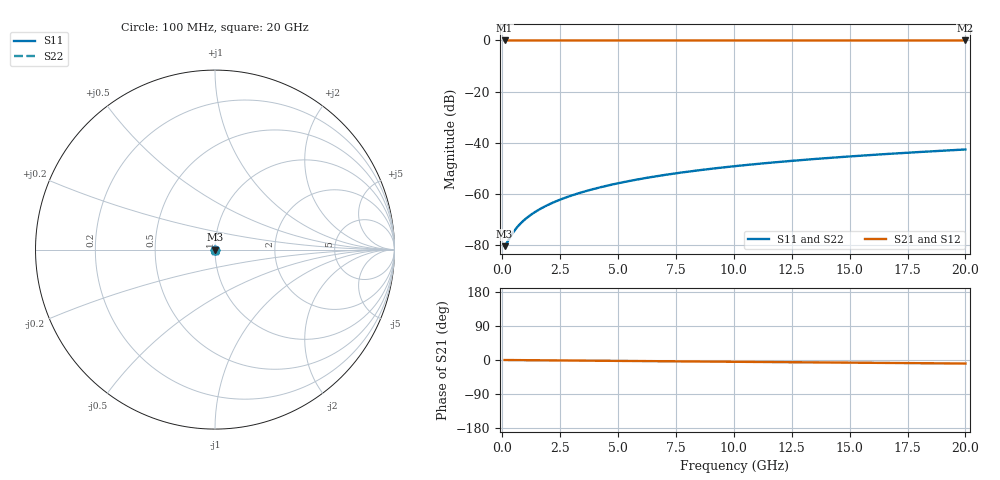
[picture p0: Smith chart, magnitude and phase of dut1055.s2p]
! Touchstone file exported from HFSS 2026.1.0
!  File:  C:/ffzhzh/LocalFiles/Ansys_Project_Files/temp_train_TSV_1055_1783189550_55132.aedt
!  Generated:  02:27:25 AM Jul  5, 2026
!  Design:  TSV
!  Project:  temp_train_TSV_1055_1783189550_55132
! Variables:
!  h_bsmrdl = 2um
!  h_ox = 20um
!  h_rdl = 5um
!  h_sub = 94.22um
!  h_tmrdl = 5um
!  h_tsv = 94.22um
!  h_via = 3um
!  l_bsmrdl = 300um
!  l_sub = 426.68um
!  l_tmrdl = 200um
!  m_sub = 200um
!  pitch = 51.12um
!  r_tsv = 13.34um
!  s_tmrdl = 10um
!  w_bsmrdl = 18um
!  w_sub = 500um
!  w_tmrdl = 12um
!  x_tsv_center1 = 206um
!  x_tsv_center2 = 524um
!  x_tsv_center3 = 736um
!  x_tsv_center4 = 1054um
!  x_tsv_center5 = 1266um
!  x_tsv_center6 = 1584um
# GHz S MA R 50.000000
! Terminal data exported
! Port[1] = TSV1_1_T1
! Port[2] = TSV1_1_T2
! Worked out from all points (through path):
!   200 points, 100 MHz to 20 GHz, reference 50 ohm
!   highest |S21| = 0.00 dB at 100 MHz (marker M1); lowest = 0.0 dB at 20 GHz (marker M2)
!   group delay of S21, straight-line fit = 1.29 ps
!   lowest |S11| = -80.5 dB at 100 MHz (marker M3), VSWR 1.00, Z = 50 + j0.00112 ohm
!   |S11| at or under -10 dB: start of sweep to end of sweep
!   |S22| runs from -80.5 to -42.6 dB; largest |S21 - S12| = 3.1e-15
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0.1  9.478e-05 6.8  0.9999 -0.0  0.9999 -0.0  9.478e-05 6.8
! Gamma 0 0 0 0
! Port Impedance 50 0 50 0
0.2  0.0001109 9.6  0.9999 -0.1  0.9999 -0.1  0.0001109 9.6
0.4  0.0001579 4.1  0.9998 -0.2  0.9998 -0.2  0.0001579 4.1
0.5  0.0001843 -1.0  0.9998 -0.2  0.9998 -0.2  0.0001843 -1.0
0.7  0.0002389 -12.0  0.9998 -0.3  0.9998 -0.3  0.0002389 -12.0
0.8  0.0002666 -17.0  0.9997 -0.4  0.9997 -0.4  0.0002667 -17.0
1  0.0003228 -25.9  0.9997 -0.5  0.9997 -0.5  0.0003228 -25.9
1.3  0.0004087 -36.2  0.9997 -0.6  0.9997 -0.6  0.0004087 -36.2
1.7  0.0005261 -45.8  0.9996 -0.8  0.9996 -0.8  0.0005262 -45.8
2.2  0.0006778 -53.7  0.9996 -1.0  0.9996 -1.0  0.0006778 -53.7
2.8  0.0008665 -59.8  0.9995 -1.3  0.9995 -1.3  0.0008666 -59.8
3.5  0.001095 -64.4  0.9995 -1.6  0.9995 -1.6  0.001095 -64.4
4.2  0.001332 -67.7  0.9995 -2.0  0.9995 -2.0  0.001332 -67.7
5  0.001612 -70.5  0.9994 -2.3  0.9994 -2.3  0.001612 -70.5
5.9  0.001934 -73.0  0.9993 -2.8  0.9993 -2.8  0.001934 -73.0
6.8  0.002263 -75.1  0.9993 -3.2  0.9993 -3.2  0.002263 -75.1
8.3  0.002821 -77.9  0.9992 -3.9  0.9992 -3.9  0.002822 -77.8
10.1  0.003501 -80.6  0.9991 -4.7  0.9991 -4.7  0.003502 -80.5
11.7  0.004113 -82.6  0.9991 -5.5  0.9991 -5.5  0.004113 -82.5
13.4  0.004767 -84.4  0.999 -6.3  0.999 -6.3  0.004768 -84.4
16.7  0.006057 -87.4  0.9989 -7.8  0.9989 -7.8  0.006058 -87.4
20  0.007377 -89.9  0.9988 -9.3  0.9988 -9.3  0.007378 -89.9
